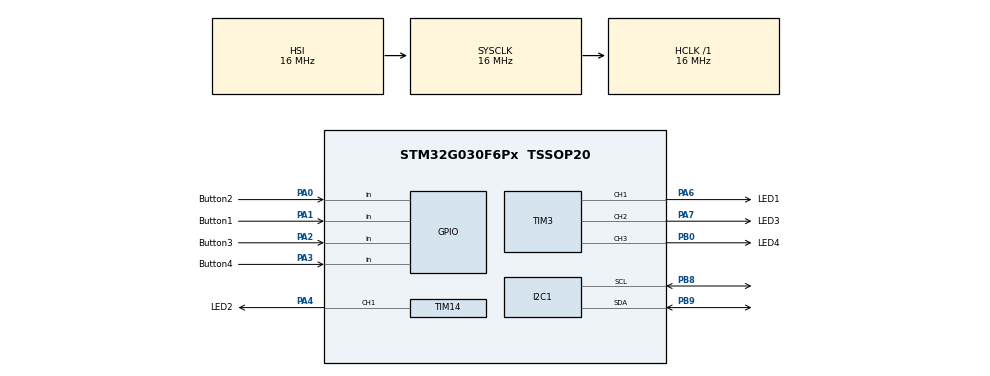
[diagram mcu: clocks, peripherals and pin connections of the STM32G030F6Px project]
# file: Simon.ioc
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I2C1.Timing=0x00503D58
Mcu.Family=STM32G0
Mcu.Name=STM32G030F6Px
Mcu.Package=TSSOP20
PA0.GPIO_Label=Button2
PA0.Signal=GPIO_Input
PA1.GPIO_Label=Button1
PA1.Signal=GPIO_Input
PA13.Mode=Serial_Wire
PA13.Signal=SYS_SWDIO
PA14-BOOT0.Mode=Serial_Wire
PA14-BOOT0.Signal=SYS_SWCLK
PA14-BOOT0__PA15.StandardMode=true
PA2.GPIO_Label=Button3
PA2.Signal=GPIO_Input
PA3.GPIO_Label=Button4
PA3.Signal=GPIO_Input
PA4.GPIO_Label=LED2
PA4.Signal=S_TIM14_CH1
PA6.GPIO_Label=LED1
PA6.Signal=S_TIM3_CH1
PA7.GPIO_Label=LED3
PA7.Signal=S_TIM3_CH2
PB0.GPIO_Label=LED4
PB0.Signal=S_TIM3_CH3
PB0__PB1__PB2__PA8.StandardMode=true
PB3__PB4__PB5__PB6.StandardMode=true
PB7__PB8.StandardMode=true
PB8.Mode=I2C
PB8.Signal=I2C1_SCL
PB9.Mode=I2C
PB9.Signal=I2C1_SDA
PC14-OSC32_IN\ (PC14)__PB9.StandardMode=true
ProjectManager.HeapSize=0x200
ProjectManager.StackSize=0x400
ProjectManager.TargetToolchain=STM32CubeIDE
RCC.AHBFreq_Value=16000000
RCC.CortexFreq_Value=16000000
RCC.EXTERNAL_CLOCK_VALUE=12288000
RCC.HCLKFreq_Value=16000000
RCC.HSE_VALUE=8000000
RCC.HSI_VALUE=16000000
RCC.LSE_VALUE=32768
RCC.SYSCLKFreq_VALUE=16000000
RCC.VCOOutputFreq_Value=128000000
SH.S_TIM14_CH1.0=TIM14_CH1,PWM Generation1 CH1
SH.S_TIM3_CH1.0=TIM3_CH1,PWM Generation1 CH1
SH.S_TIM3_CH2.0=TIM3_CH2,PWM Generation2 CH2
SH.S_TIM3_CH3.0=TIM3_CH3,PWM Generation3 CH3
TIM14.Channel=TIM_CHANNEL_1
TIM3.Channel-PWM\ Generation1\ CH1=TIM_CHANNEL_1
TIM3.Channel-PWM\ Generation2\ CH2=TIM_CHANNEL_2
TIM3.Channel-PWM\ Generation3\ CH3=TIM_CHANNEL_3
VP_TIM14_VS_ClockSourceINT.Mode=Enable_Timer
board=custom

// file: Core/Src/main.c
/* USER CODE BEGIN Header */
/**
  ******************************************************************************
  * @file           : main.c
  * @brief          : Main program body
  ******************************************************************************
  * @attention
  *
  * Copyright (c) 2026 STMicroelectronics.
  * All rights reserved.
  *
  * This software is licensed under terms that can be found in the LICENSE file
  * in the root directory of this software component.
  * If no LICENSE file comes with this software, it is provided AS-IS.
  *
  ******************************************************************************
  */
/* USER CODE END Header */
#include "main.h"

/* USER CODE BEGIN Includes */
#include "simon_game.h"
/* USER CODE END Includes */

I2C_HandleTypeDef hi2c1;

TIM_HandleTypeDef htim3;
TIM_HandleTypeDef htim14;

/* USER CODE BEGIN PV */
SimonGame_t gameInstance; // Define the game state structure

// Individual brightness calibration for each game LED (Range: 0 to 65535)
// Adjust these values relative to each other  until all 4 look equally bright!
volatile uint32_t brightness_led1 = 3000;  // Adjust for LED 1 (Blue)
volatile uint32_t brightness_led2 = 6000;  // Adjust for LED 2 (Green)
volatile uint32_t brightness_led3 = 6000;  // Adjust for LED 3 (Yellow)
volatile uint32_t brightness_led4 = 3000;  // Adjust for LED 4 (Red)
/* USER CODE END PV */

void SystemClock_Config(void);
static void MX_GPIO_Init(void);
static void MX_I2C1_Init(void);
static void MX_TIM3_Init(void);
static void MX_TIM14_Init(void);
/* USER CODE BEGIN PFP */
// Function declarations for hardware integration
void my_SetLed(uint8_t index, bool state);
bool my_GetButton(uint8_t index);
void my_UpdateScore(uint8_t score);
void my_SaveHighScore(uint8_t score);
uint8_t my_LoadHighScore(void);
/* USER CODE END PFP */

int main(void)
{

  /* MCU Configuration--------------------------------------------------------*/

  /* Reset of all peripherals, Initializes the Flash interface and the Systick. */
  HAL_Init();

  /* Configure the system clock */
  SystemClock_Config();

  /* Initialize all configured peripherals */
  MX_GPIO_Init();
  MX_I2C1_Init();
  MX_TIM3_Init();
  MX_TIM14_Init();

  /* USER CODE BEGIN 2 */
    const uint16_t AW9523_ADDR = 0x5B << 1;

    // 1. Set Global Control Register (0x11)
    // Bits [1:0] set the Max current:
    // 0b00 = 37mA, 0b01 = 27.75mA, 0b10 = 18.5mA, 0b11 = 9.25mA
    // Let's configure it to 9.25mA (0x03) for safe, power-efficient, resistor-less operation
    uint8_t gcr_val = 0x03;
    HAL_I2C_Mem_Write(&hi2c1, AW9523_ADDR, 0x11, I2C_MEMADD_SIZE_8BIT, &gcr_val, 1, 100);

    // 2. Configure Pin Modes (0x12 for Port 0, 0x13 for Port 1)
    // A bit value of '0' enables Constant-Current LED Mode. '1' is standard GPIO.
    // We want Port 0 pins 0-7 (all 8) in LED mode -> 0x00
    // We want Port 1 pins 0-5 in LED mode, pins 6-7 as standard GPIO -> 0xC0 (1100 0000)
    uint8_t port0_mode = 0x00;
    uint8_t port1_mode = 0xC0;
    HAL_I2C_Mem_Write(&hi2c1, AW9523_ADDR, 0x12, I2C_MEMADD_SIZE_8BIT, &port0_mode, 1, 100);
    HAL_I2C_Mem_Write(&hi2c1, AW9523_ADDR, 0x13, I2C_MEMADD_SIZE_8BIT, &port1_mode, 1, 100);

    // 3. Clear/turn off all LED current registers initially (so they don't glow at startup)
    // In AW9523, Port 0 dimming registers are at 0x24 to 0x2B
    // Port 1 (pins 0-3) dimming registers are 0x20 to 0x23, (pins 4-7) are 0x2C to 0x2F
    uint8_t zero_brightness = 0x00;
    for (uint8_t reg = 0x20; reg <= 0x2F; reg++) {
        HAL_I2C_Mem_Write(&hi2c1, AW9523_ADDR, reg, I2C_MEMADD_SIZE_8BIT, &zero_brightness, 1, 10);
    }

    // --- START PWM CHANNELS ---
      HAL_TIM_PWM_Start(&htim3, TIM_CHANNEL_1);  // LED 1
      HAL_TIM_PWM_Start(&htim3, TIM_CHANNEL_2);  // LED 2
      HAL_TIM_PWM_Start(&htim3, TIM_CHANNEL_3);  // LED 3
      HAL_TIM_PWM_Start(&htim14, TIM_CHANNEL_1); // LED 4

    // 4. Load high score and initialize game
    uint8_t storedHighScore = my_LoadHighScore();
    SimonGame_Init(&gameInstance, storedHighScore, my_SetLed, my_GetButton, my_UpdateScore, my_SaveHighScore);
  /* USER CODE END 2 */

  /* Infinite loop */
  /* USER CODE BEGIN WHILE */
  while (1)
  {
	  SimonGame_Update(&gameInstance);
    /* USER CODE END WHILE */

  }
}

void SystemClock_Config(void)
{
  RCC_OscInitTypeDef RCC_OscInitStruct = {0};
  RCC_ClkInitTypeDef RCC_ClkInitStruct = {0};

  /** Configure the main internal regulator output voltage
  */
  HAL_PWREx_ControlVoltageScaling(PWR_REGULATOR_VOLTAGE_SCALE1);

  /** Initializes the RCC Oscillators according to the specified parameters
  * in the RCC_OscInitTypeDef structure.
  */
  RCC_OscInitStruct.OscillatorType = RCC_OSCILLATORTYPE_HSI;
  RCC_OscInitStruct.HSIState = RCC_HSI_ON;
  RCC_OscInitStruct.HSIDiv = RCC_HSI_DIV1;
  RCC_OscInitStruct.HSICalibrationValue = RCC_HSICALIBRATION_DEFAULT;
  RCC_OscInitStruct.PLL.PLLState = RCC_PLL_NONE;
  if (HAL_RCC_OscConfig(&RCC_OscInitStruct) != HAL_OK)
  {
    Error_Handler();
  }

  /** Initializes the CPU, AHB and APB buses clocks
  */
  RCC_ClkInitStruct.ClockType = RCC_CLOCKTYPE_HCLK|RCC_CLOCKTYPE_SYSCLK
                              |RCC_CLOCKTYPE_PCLK1;
  RCC_ClkInitStruct.SYSCLKSource = RCC_SYSCLKSOURCE_HSI;
  RCC_ClkInitStruct.AHBCLKDivider = RCC_SYSCLK_DIV1;
  RCC_ClkInitStruct.APB1CLKDivider = RCC_HCLK_DIV1;

  if (HAL_RCC_ClockConfig(&RCC_ClkInitStruct, FLASH_LATENCY_0) != HAL_OK)
  {
    Error_Handler();
  }
}

static void MX_I2C1_Init(void)
{

  hi2c1.Instance = I2C1;
  hi2c1.Init.Timing = 0x00503D58;
  hi2c1.Init.OwnAddress1 = 0;
  hi2c1.Init.AddressingMode = I2C_ADDRESSINGMODE_7BIT;
  hi2c1.Init.DualAddressMode = I2C_DUALADDRESS_DISABLE;
  hi2c1.Init.OwnAddress2 = 0;
  hi2c1.Init.OwnAddress2Masks = I2C_OA2_NOMASK;
  hi2c1.Init.GeneralCallMode = I2C_GENERALCALL_DISABLE;
  hi2c1.Init.NoStretchMode = I2C_NOSTRETCH_DISABLE;
  if (HAL_I2C_Init(&hi2c1) != HAL_OK)
  {
    Error_Handler();
  }

  /** Configure Analogue filter
  */
  if (HAL_I2CEx_ConfigAnalogFilter(&hi2c1, I2C_ANALOGFILTER_ENABLE) != HAL_OK)
  {
    Error_Handler();
  }

  /** Configure Digital filter
  */
  if (HAL_I2CEx_ConfigDigitalFilter(&hi2c1, 0) != HAL_OK)
  {
    Error_Handler();
  }

}

static void MX_TIM3_Init(void)
{

  TIM_MasterConfigTypeDef sMasterConfig = {0};
  TIM_OC_InitTypeDef sConfigOC = {0};

  htim3.Instance = TIM3;
  htim3.Init.Prescaler = 0;
  htim3.Init.CounterMode = TIM_COUNTERMODE_UP;
  htim3.Init.Period = 65535;
  htim3.Init.ClockDivision = TIM_CLOCKDIVISION_DIV1;
  htim3.Init.AutoReloadPreload = TIM_AUTORELOAD_PRELOAD_DISABLE;
  if (HAL_TIM_PWM_Init(&htim3) != HAL_OK)
  {
    Error_Handler();
  }
  sMasterConfig.MasterOutputTrigger = TIM_TRGO_RESET;
  sMasterConfig.MasterSlaveMode = TIM_MASTERSLAVEMODE_DISABLE;
  if (HAL_TIMEx_MasterConfigSynchronization(&htim3, &sMasterConfig) != HAL_OK)
  {
    Error_Handler();
  }
  sConfigOC.OCMode = TIM_OCMODE_PWM1;
  sConfigOC.Pulse = 0;
  sConfigOC.OCPolarity = TIM_OCPOLARITY_HIGH;
  sConfigOC.OCFastMode = TIM_OCFAST_DISABLE;
  if (HAL_TIM_PWM_ConfigChannel(&htim3, &sConfigOC, TIM_CHANNEL_1) != HAL_OK)
  {
    Error_Handler();
  }
  if (HAL_TIM_PWM_ConfigChannel(&htim3, &sConfigOC, TIM_CHANNEL_2) != HAL_OK)
  {
    Error_Handler();
  }
  if (HAL_TIM_PWM_ConfigChannel(&htim3, &sConfigOC, TIM_CHANNEL_3) != HAL_OK)
  {
    Error_Handler();
  }
  HAL_TIM_MspPostInit(&htim3);

}

static void MX_TIM14_Init(void)
{

  TIM_OC_InitTypeDef sConfigOC = {0};

  htim14.Instance = TIM14;
  htim14.Init.Prescaler = 0;
  htim14.Init.CounterMode = TIM_COUNTERMODE_UP;
  htim14.Init.Period = 65535;
  htim14.Init.ClockDivision = TIM_CLOCKDIVISION_DIV1;
  htim14.Init.AutoReloadPreload = TIM_AUTORELOAD_PRELOAD_DISABLE;
  if (HAL_TIM_Base_Init(&htim14) != HAL_OK)
  {
    Error_Handler();
  }
  if (HAL_TIM_PWM_Init(&htim14) != HAL_OK)
  {
    Error_Handler();
  }
  sConfigOC.OCMode = TIM_OCMODE_PWM1;
  sConfigOC.Pulse = 0;
  sConfigOC.OCPolarity = TIM_OCPOLARITY_HIGH;
  sConfigOC.OCFastMode = TIM_OCFAST_DISABLE;
  if (HAL_TIM_PWM_ConfigChannel(&htim14, &sConfigOC, TIM_CHANNEL_1) != HAL_OK)
  {
    Error_Handler();
  }
  HAL_TIM_MspPostInit(&htim14);

}

static void MX_GPIO_Init(void)
{
  GPIO_InitTypeDef GPIO_InitStruct = {0};

  /* GPIO Ports Clock Enable */
  __HAL_RCC_GPIOB_CLK_ENABLE();
  __HAL_RCC_GPIOA_CLK_ENABLE();

  /*Configure GPIO pins : Button2_Pin Button1_Pin Button3_Pin Button4_Pin */
  GPIO_InitStruct.Pin = Button2_Pin|Button1_Pin|Button3_Pin|Button4_Pin;
  GPIO_InitStruct.Mode = GPIO_MODE_INPUT;
  GPIO_InitStruct.Pull = GPIO_NOPULL;
  HAL_GPIO_Init(GPIOA, &GPIO_InitStruct);

}

/* USER CODE BEGIN 4 */

void my_SetLed(uint8_t index, bool state) {
    switch (index) {
        case 0: // Game Index 0 (Button 1) -> Physical LED 1 (TIM3_CH1)
            __HAL_TIM_SET_COMPARE(&htim3, TIM_CHANNEL_1, state ? brightness_led1 : 0);
            break;

        case 1: // Game Index 1 (Button 2) -> Physical LED 4 (TIM14_CH1)
            __HAL_TIM_SET_COMPARE(&htim14, TIM_CHANNEL_1, state ? brightness_led4 : 0);
            break;

        case 2: // Game Index 2 (Button 3) -> Physical LED 2 (TIM3_CH2)
            __HAL_TIM_SET_COMPARE(&htim3, TIM_CHANNEL_2, state ? brightness_led2 : 0);
            break;

        case 3: // Game Index 3 (Button 4) -> Physical LED 3 (TIM3_CH3)
            __HAL_TIM_SET_COMPARE(&htim3, TIM_CHANNEL_3, state ? brightness_led3 : 0);
            break;

        default:
            break;
    }
}

bool my_GetButton(uint8_t index) {
    if (index == 0) return HAL_GPIO_ReadPin(Button1_GPIO_Port, Button1_Pin) == GPIO_PIN_SET;
    if (index == 1) return HAL_GPIO_ReadPin(Button2_GPIO_Port, Button2_Pin) == GPIO_PIN_SET;
    if (index == 2) return HAL_GPIO_ReadPin(Button3_GPIO_Port, Button3_Pin) == GPIO_PIN_SET;
    if (index == 3) return HAL_GPIO_ReadPin(Button4_GPIO_Port, Button4_Pin) == GPIO_PIN_SET;
    return false;
}

void my_UpdateScore(uint8_t score) {
    const uint16_t AW9523_ADDR = 0x5B << 1;

    // 10% brightness limit (Range: 0 - 255)
    const uint8_t MAX_BRIGHTNESS = 5;

    // Standard 7-segment lookup table for numbers 0-9
    // Bit mapping: [MSB] . G F E D C B A [LSB]
    const uint8_t seg_lookup[10] = {
        0x3F, // 0 -> A, B, C, D, E, F
        0x06, // 1 -> B, C
        0x5B, // 2 -> A, B, D, E, G
        0x4F, // 3 -> A, B, C, D, G
        0x66, // 4 -> B, C, F, G
        0x6D, // 5 -> A, C, D, F, G
        0x7D, // 6 -> A, C, D, E, F, G
        0x07, // 7 -> A, B, C
        0x7F, // 8 -> A, B, C, D, E, F, G
        0x6F  // 9 -> A, B, C, D, F, G
    };

    // Your custom hardware register arrays mapped to A, B, C, D, E, F, G
    const uint8_t digit1_regs[7] = {0x27, 0x28, 0x2A, 0x2C, 0x2D, 0x2B, 0x29}; // Tens (LED14, 18, 16, 12, 15, 13, 17)
    const uint8_t digit2_regs[7] = {0x20, 0x21, 0x22, 0x24, 0x25, 0x26, 0x23}; // Ones (LED5, 6, 9, 11, 8, 7, 10)

    // Cap the score display at 99
    if (score > 99) {
        score = 99;
    }

    // Split score into digits
    uint8_t tens = score / 10;
    uint8_t ones = score % 10;

    // Get segment patterns
    uint8_t tens_pattern = seg_lookup[tens];
    uint8_t ones_pattern = seg_lookup[ones];

    // Blank leading zero if score is less than 10
    if (score < 10) {
        tens_pattern = 0x00;
    }

    // Write to Digit 1 (Tens)
    for (uint8_t i = 0; i < 7; i++) {
        uint8_t brightness = (tens_pattern & (1 << i)) ? MAX_BRIGHTNESS : 0;
        HAL_I2C_Mem_Write(&hi2c1, AW9523_ADDR, digit1_regs[i], I2C_MEMADD_SIZE_8BIT, &brightness, 1, 10);
    }

    // Write to Digit 2 (Ones)
    for (uint8_t i = 0; i < 7; i++) {
        uint8_t brightness = (ones_pattern & (1 << i)) ? MAX_BRIGHTNESS : 0;
        HAL_I2C_Mem_Write(&hi2c1, AW9523_ADDR, digit2_regs[i], I2C_MEMADD_SIZE_8BIT, &brightness, 1, 10);
    }
}

void my_SaveHighScore(uint8_t score) {
    // 1. Unlock the Flash
    HAL_FLASH_Unlock();

    // 2. Setup the Erase configuration (Page 31 is the last page of G030 64KB Flash)
    FLASH_EraseInitTypeDef EraseInitStruct;
    uint32_t PageError = 0;

    EraseInitStruct.TypeErase = FLASH_TYPEERASE_PAGES;
    EraseInitStruct.Page = 31;
    EraseInitStruct.NbPages = 1;

    // 3. Erase the page (required before writing new data)
    if (HAL_FLASHEx_Erase(&EraseInitStruct, &PageError) == HAL_OK) {
        // STM32G0 requires writing in 64-bit double-words.
        uint64_t dataToWrite = score;
        HAL_FLASH_Program(FLASH_TYPEPROGRAM_DOUBLEWORD, 0x0800F800, dataToWrite);
    }

    // 4. Lock the Flash again
    HAL_FLASH_Lock();
}

uint8_t my_LoadHighScore(void) {
    // Read directly from Page 31 base address
    uint8_t storedScore = (*(__IO uint64_t*)0x0800F800) & 0xFF;
    return (storedScore > 14) ? 0 : storedScore;
}
/* USER CODE END 4 */
/* USER CODE END 4 */

void Error_Handler(void)
{
  __disable_irq();
  while (1)
  {
  }
}
